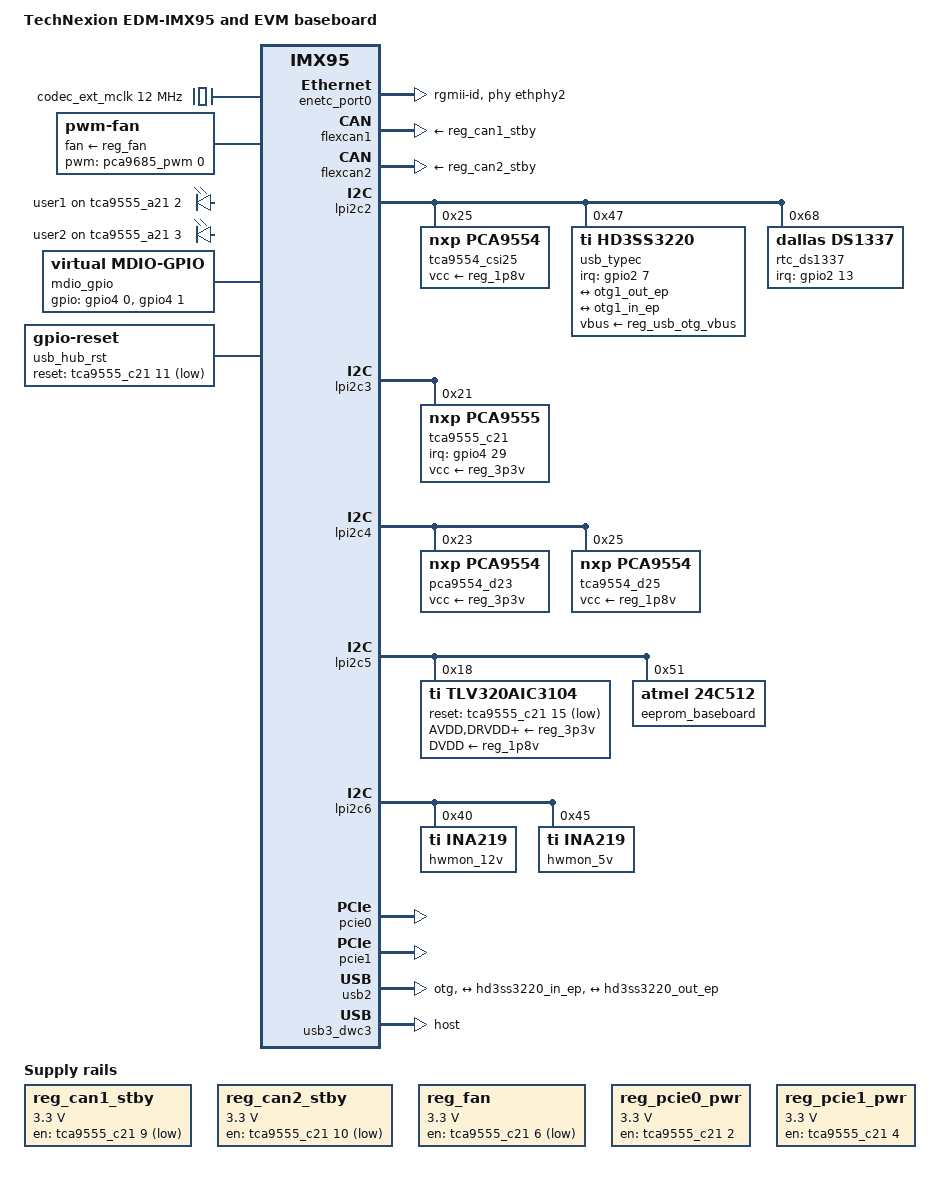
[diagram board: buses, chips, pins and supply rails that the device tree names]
// SPDX-License-Identifier: (GPL-2.0 OR MIT)
/*
 * Copyright 2024 TechNexion Ltd.
 *
 * Author: Richard Hu <richard.hu@technexion.com>
 *
 */

/dts-v1/;

#include <dt-bindings/phy/phy-imx8-pcie.h>
#include "imx95-edm.dtsi"

/ {
	compatible = "fsl,imx95-edm", "fsl,imx95";
	model = "TechNexion EDM-IMX95 and EVM baseboard";

	aliases {
		ethernet0 = &enetc_port1;
		ethernet1 = &enetc_port2;
		mmc0 = &usdhc1;
		mmc1 = &usdhc2;
		rtc0 = &rtc_ds1337;
		rtc1 = &scmi_bbm;
		serial0 = &lpuart1;
	};

	codec_ext_mclk: clock-codec {
		compatible = "fixed-clock";
		#clock-cells = <0>;
		clock-frequency = <12000000>;
	};

	fan: pwm-fan {
		compatible = "pwm-fan";
		#cooling-cells = <2>;
		cooling-levels = <255 192 128 64>;
		fan-supply = <&reg_fan>;
		pwms = <&pca9685_pwm 0 4000000>;
	};

	leds {
		compatible = "gpio-leds";

		led0: led-0 {
			default-state = "on";
			gpios = <&tca9555_a21 2 GPIO_ACTIVE_HIGH>;
			label = "user1";
		};

		led1: led-1 {
			default-state = "on";
			gpios = <&tca9555_a21 3 GPIO_ACTIVE_HIGH>;
			label = "user2";
		};
	};

	lvds0_backlight: backlight {
		compatible = "pwm-backlight";
		brightness-levels = <0 36 72 108 144 180 216 255>;
		default-brightness-level = <6>;
		/* LVDS0_BL_EN */
		enable-gpios = <&tca9555_a21 1 GPIO_ACTIVE_HIGH>;
		pwms = <&tpm5 0 50000 0>;
		status = "disabled";
	};

	mdio_gpio: mdio {
		compatible = "virtual,mdio-gpio";
		#size-cells = <0>;
		#address-cells = <1>;
		gpios = <&gpio4 0 GPIO_ACTIVE_HIGH>, /* mdc */
			<&gpio4 1 GPIO_ACTIVE_HIGH>; /* mdio */
		pinctrl-0 = <&pinctrl_mdio_gpio>;
		pinctrl-names = "default";

		ethphy2: ethernet-phy2@1 {
			reg = <1>;
			/* RTL8211F on baseboard */
			compatible = "ethernet-phy-ieee802.3-c22";
			eee-broken-1000t;
			reset-assert-us = <35000>;
			reset-deassert-us = <75000>;
			reset-gpios = <&tca9555_a22 1 GPIO_ACTIVE_LOW>;
			realtek,aldps-disable;
			realtek,clkout-disable;
		};
	};

	reg_lvds_pwr: regulator-lvds-pwr {
		/* LVDS0_VDDEN */
		compatible = "regulator-fixed";
		regulator-max-microvolt = <3300000>;
		regulator-min-microvolt = <3300000>;
		regulator-name = "lvds0_vdden";
		gpio = <&tca9555_a21 0 GPIO_ACTIVE_HIGH>;
		enable-active-high;
		status = "disabled";
	};

	reg_can1_stby: regulator-can1-stby {
		compatible = "regulator-fixed";
		enable-active-low;
		regulator-max-microvolt = <3300000>;
		regulator-min-microvolt = <3300000>;
		regulator-name = "can1-stby";
		gpio = <&tca9555_c21 9 GPIO_ACTIVE_LOW>;
	};

	reg_can2_stby: regulator-can2-stby {
		compatible = "regulator-fixed";
		enable-active-low;
		regulator-max-microvolt = <3300000>;
		regulator-min-microvolt = <3300000>;
		regulator-name = "can2-stby";
		gpio = <&tca9555_c21 10 GPIO_ACTIVE_LOW>;
	};

	reg_fan: regulator-fan {
		compatible = "regulator-fixed";
		regulator-boot-on;
		regulator-max-microvolt = <3300000>;
		regulator-min-microvolt = <3300000>;
		regulator-name = "fan-supply";
		gpio = <&tca9555_c21 6 GPIO_ACTIVE_LOW>;
	};

	reg_pcie0_pwr: regulator-pcie0-pwr {
		/* PCIE1 M.2 B key */
		compatible = "regulator-fixed";
		enable-active-high;
		regulator-max-microvolt = <3300000>;
		regulator-min-microvolt = <3300000>;
		regulator-name = "PCIe-0 slot-power";
		/* M2_B_PWR_EN */
		gpio = <&tca9555_c21 2 GPIO_ACTIVE_HIGH>;
	};

	reg_pcie1_pwr: regulator-pcie1-pwr {
		/* PCIE2 M.2 M key_1 */
		compatible = "regulator-fixed";
		enable-active-high;
		regulator-always-on;
		regulator-max-microvolt = <3300000>;
		regulator-min-microvolt = <3300000>;
		regulator-name = "PCIe-1 slot-power";
		/* M2_M1_PWR_EN */
		gpio = <&tca9555_c21 4 GPIO_ACTIVE_HIGH>;
	};

	sound {
		compatible = "simple-audio-card";
		simple-audio-card,bitclock-inversion;
		simple-audio-card,bitclock-master = <&sound_master>;
		simple-audio-card,format = "dsp_b";
		simple-audio-card,frame-master = <&sound_master>;
		simple-audio-card,name = "tlv320aic3x-audio";
		simple-audio-card,routing = "Headphone Jack", "HPLOUT",
			"Headphone Jack", "HPROUT",
			"Line Out", "HPLCOM",
			"Line Out", "HPRCOM",
			"MIC2R", "Mic Jack",
			"Mic Jack", "Mic Bias";
		simple-audio-card,widgets = "Headphone", "Headphone Jack",
			"Microphone", "Mic Jack",
			"Line", "Line Out";

		sound_master: simple-audio-card,codec {
			clocks = <&codec_ext_mclk>;
			sound-dai = <&tlv320aic3104>;
		};

		simple-audio-card,cpu {
			sound-dai = <&sai3>;
		};
	};

	usb_hub_rst: reset-controller {
		compatible = "gpio-reset";
		#reset-cells = <0>;
		reset-delay-us = <10>;
		reset-gpios = <&tca9555_c21 11 GPIO_ACTIVE_LOW>;
	};
};

&enetc_port0 {
	/* RTL8211F on baseboard */
	pinctrl-names = "default";
	phy-handle = <&ethphy2>;
	phy-mode = "rgmii-id";
	pinctrl-0 = <&pinctrl_enetc0>;
	status = "okay";
};

&flexcan1 {
	xceiver-supply = <&reg_can1_stby>;
	status = "okay";
};

&flexcan2 {
	xceiver-supply = <&reg_can2_stby>;
	status = "okay";
};

&lpi2c2 {
	/* I2C_CSI on EDM */
	tca9554_csi25: gpio@25 {
		compatible = "nxp,pca9554";
		reg = <0x25>;
		#gpio-cells = <2>;
		gpio-controller;
		gpio-line-names = "EXPOSURE_TRIG_IN1", "FLASH_OUT1", "INFO_TRIG_IN1", "CAM_SHUTTER1", "PWR1_TIME0", "PWR1_TIME1", "PWR1_TIME2", "";
		vcc-supply = <&reg_1p8v>;
	};

	usb_typec: usb-typec@47 {
		compatible = "ti,hd3ss3220";
		reg = <0x47>;
		interrupts-extended = <&gpio2 7 IRQ_TYPE_LEVEL_LOW>;
		pinctrl-0 = <&pinctrl_hd3ss3220_irq>;
		pinctrl-names = "default";
		vbus-supply = <&reg_usb_otg_vbus>;

		ports {
			#address-cells = <1>;
			#size-cells = <0>;

			port@0 {
				reg = <0>;

				hd3ss3220_in_ep: endpoint {
					remote-endpoint = <&otg1_out_ep>;
				};
			};

			port@1 {
				reg = <1>;

				hd3ss3220_out_ep: endpoint {
					remote-endpoint = <&otg1_in_ep>;
				};
			};
		};
	};

	rtc_ds1337: rtc@68 {
		compatible = "dallas,ds1337";
		reg = <0x68>;
		interrupt-parent = <&gpio2>;
		interrupts = <13 IRQ_TYPE_LEVEL_LOW>;
		pinctrl-0 = <&pinctrl_rtc_irq>;
		pinctrl-names = "default";
		wakeup-source;
	};
};

&lpi2c3 {
	/* I2C_C on EDM */
	tca9555_c21: gpio@21 {
		compatible = "nxp,pca9555";
		reg = <0x21>;
		#interrupt-cells = <2>;
		interrupt-controller;
		interrupt-parent = <&gpio4>;
		interrupts = <29 IRQ_TYPE_LEVEL_LOW>;
		#gpio-cells = <2>;
		gpio-controller;
		gpio-line-names = "M2_B_WWAN_WAKEN", "M2_B_WAN_DISABLEN", "M2_B_PWR_EN", "M2_B_RESET", "M2_M1_PWR_EN", "M2_M2_PWR_EN", "FAN_STBY", "USB_OTG_OC",
						  "RTC_INTA", "CAN1_STB", "CAN2_STB", "USB_HUB_RESET", "CSI1_PDB", "CSI2_PDB", "VCONN_FAULT", "AUD_RST";
		pinctrl-0 = <&pinctrl_tca9555_c21_irq>;
		pinctrl-names = "default";
		vcc-supply = <&reg_3p3v>;
	};

	pca9685_pwm:pwm@55 {
		compatible = "nxp,pca9685-pwm";
		reg = <0x55>;
		#pwm-cells = <2>;
	};
};

&lpi2c4 {
	/* I2C_D on EDM */
	pca9554_d23: gpio@23 {
		compatible = "nxp,pca9554";
		reg = <0x23>;
		#gpio-cells = <2>;
		gpio-controller;
		gpio-line-names = "DSI1_VDDEN", "DSI1_BL_EN", "DSI1_TE", "DSI1_RST", "DSI1_INT_N", "TOUCH_RST", "EEPROM_WP", "";
		vcc-supply = <&reg_3p3v>;
	};

	tca9554_d25: gpio@25 {
		compatible = "nxp,pca9554";
		reg = <0x25>;
		#gpio-cells = <2>;
		gpio-controller;
		gpio-line-names = "EXPOSURE_TRIG_IN2", "FLASH_OUT2", "INFO_TRIG_IN2", "CAM_SHUTTER2", "PWR2_TIME0", "PWR2_TIME1", "PWR2_TIME2", "";
		vcc-supply = <&reg_1p8v>;
	};
};

&lpi2c5 {
	/* I2C_B on EDM */
	tlv320aic3104: audio-codec@18 {
		compatible = "ti,tlv320aic3104";
		AVDD-supply = <&reg_3p3v>;
		#sound-dai-cells = <0>;
		ai3x-micbias-vg = <1>;	/* 2.0V */
		ai3x-ocmv = <0>;
		DRVDD-supply = <&reg_3p3v>;
		DVDD-supply = <&reg_1p8v>;
		IOVDD-supply = <&reg_3p3v>;
		reset-gpios = <&tca9555_c21 15 GPIO_ACTIVE_LOW>;
		reg = <0x18>;
	};

	eeprom_baseboard: eeprom@51 {
		compatible = "atmel,24c512";
		reg = <0x51>;
		pagesize = <128>;
	};
};

&lpi2c6 {
	/* Power monitor for VCC_12V_OUT */
	hwmon_12v:hwmon@40 {
		compatible = "ti,ina219";
		reg = <0x40>;
		/* .002 Ohm resistor = 2000 uOhms */
		shunt-resistor = <2000>;
	};

	/* Power monitor for VIN_5V0 */
	hwmon_5v:hwmon@45 {
		compatible = "ti,ina219";
		reg = <0x45>;
		/* .002 Ohm resistor = 2000 uOhms */
		shunt-resistor = <2000>;
	};
};

&pcie0 {
	/* PCIE1 M.2 B key */
	vpcie-supply = <&reg_pcie0_pwr>;
	status = "okay";
};

&pcie1 {
	/* PCIE2 M.2 M key_1 */
	//vpcie-supply = <&reg_pcie1_pwr>;
	status = "okay";
};

&thermal_zones {
	a55-thermal {
		cooling-maps {
			map1 {
				cooling-device = <&fan 0 1>;
				trip = <&atrip2>;
			};

			map2 {
				cooling-device = <&fan 1 2>;
				trip = <&atrip3>;
			};

			map3 {
				cooling-device = <&fan 2 3>;
				trip = <&atrip4>;
			};
		};
	};
};

&usb2 {
	dr_mode = "otg";
	status = "okay";

	ports {
		#address-cells = <1>;
		#size-cells = <0>;

		port@0 {
			reg = <0>;

			otg1_out_ep: endpoint {
				remote-endpoint = <&hd3ss3220_in_ep>;
			};
		};

		port@1 {
			reg = <1>;

			otg1_in_ep: endpoint {
				remote-endpoint = <&hd3ss3220_out_ep>;
			};
		};
	};
};

&usb3_dwc3 {
	dr_mode = "host";
	reset = <&usb_hub_rst>;
	status = "okay";
};

&scmi_iomuxc {
	pinctrl_hd3ss3220_irq: hd3ss3220_irqgrp {
		fsl,pins = <
			IMX95_PAD_GPIO_IO07__GPIO2_IO_BIT7			0x91e /* GPIO_IO1 */
		>;
	};

	pinctrl_mipi_dsi_irq: mipidsiirqgrp {
		fsl,pins = <
			IMX95_PAD_GPIO_IO19__GPIO2_IO_BIT19			0x31e
		>;
	};

	pinctrl_rtc_irq: rtcirqgrp {
		fsl,pins = <
			IMX95_PAD_GPIO_IO13__GPIO2_IO_BIT13			0x31e
		>;
	};

	pinctrl_tca9555_c21_irq: tca9555_c21_irqgrp {
		fsl,pins = <
			IMX95_PAD_CCM_CLKO4__GPIO4_IO_BIT29			0x31e /* GPIO_IO4 */
		>;
	};

	pinctrl_touch_irq: touch_irqgrp {
		fsl,pins = <
			IMX95_PAD_GPIO_IO17__GPIO2_IO_BIT17			0x31e   /* Touch INT */
		>;
	};
};
